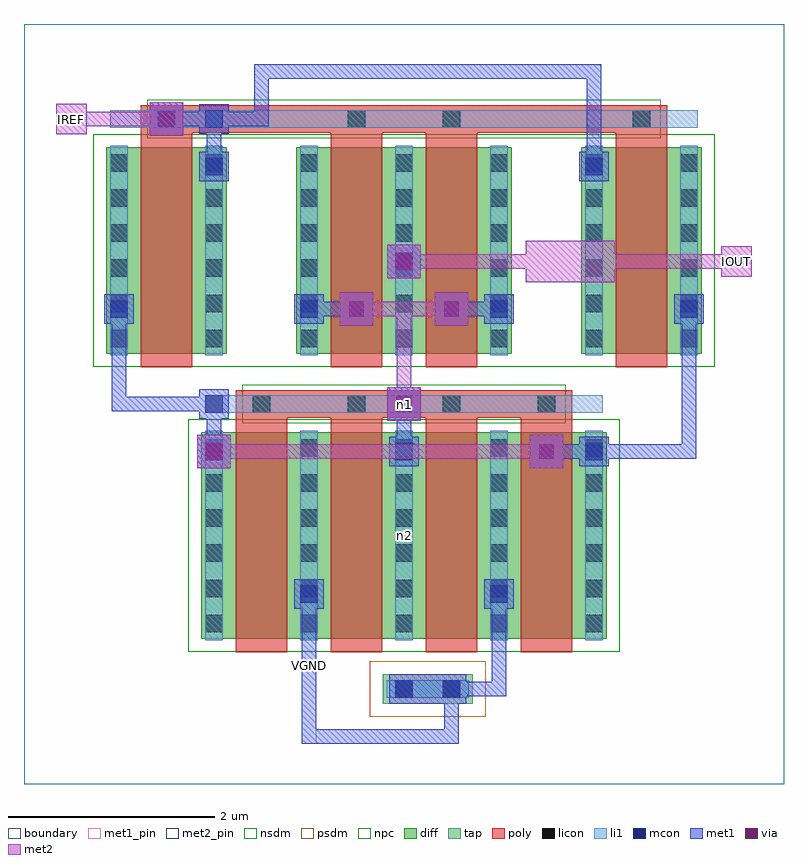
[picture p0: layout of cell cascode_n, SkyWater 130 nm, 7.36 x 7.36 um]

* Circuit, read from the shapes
.subckt cascode_n IOUT IREF VGND n1 n2
XM1 IREF IREF n1 VGND sky130_fd_pr__nfet_01v8 w=2 l=0.5 m=2
XM2 VGND n1 n1 VGND sky130_fd_pr__nfet_01v8 w=2 l=0.5 m=2
XM3 n2 n1 VGND VGND sky130_fd_pr__nfet_01v8 w=2 l=0.5 m=2
XM4 IOUT IREF n2 VGND sky130_fd_pr__nfet_01v8 w=2 l=0.5 m=2
.ends

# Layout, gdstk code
import gdstk
lib = gdstk.Library(unit=1e-6, precision=1e-09)
def R(c, l, rs):  # rectangles x0, y0, x1, y1
    for r in rs: c.add(gdstk.rectangle(r[:2], r[2:], *l))
def A(c, l, x, y, w, h, nx, ny, dx, dy):  # array of equal rectangles
    R(c, l, [(x+i*dx, y+j*dy, x+i*dx+w, y+j*dy+h) for i in range(nx) for j in range(ny)])
diff = (65, 20)
tap = (65, 44)
poly = (66, 20)
licon = (66, 44)
li1 = (67, 20)
mcon = (67, 44)
met1_pin = (68, 16)
met1 = (68, 20)
via = (68, 44)
met2_pin = (69, 16)
met2 = (69, 20)
nsdm = (93, 44)
psdm = (94, 20)
npc = (95, 20)
boundary = (235, 4)

cascode_n = lib.new_cell('cascode_n')
R(cascode_n, diff, [(1.715,1.405,5.645,3.405), (0.795,4.165,1.965,6.165), (2.635,4.165,4.725,6.165), (5.395,4.165,6.565,6.165)])
R(cascode_n, tap, [(3.475,0.775,4.345,1.065)])
A(cascode_n, poly, 2.05, 1.275, 0.5, 2.405, 4, 1, 0.92, 0)
R(cascode_n, poly, [(2.05,3.545,5.31,3.815), (1.13,4.035,1.63,6.44), (2.97,4.035,3.47,6.44), (3.89,4.035,4.39,6.44), (5.73,4.035,6.23,6.44), (1.13,6.305,6.23,6.575)])
A(cascode_n, licon, 1.755, 1.47, 0.17, 0.17, 5, 6, 0.92, 0.34)
A(cascode_n, licon, 2.215, 3.595, 0.17, 0.17, 4, 1, 0.92, 0)
A(cascode_n, licon, 0.835, 4.23, 0.17, 0.17, 7, 6, 0.92, 0.34)
R(cascode_n, licon, [(3.595,0.835,3.765,1.005), (4.055,0.835,4.225,1.005), (1.295,6.355,1.465,6.525), (3.135,6.355,3.305,6.525), (4.055,6.355,4.225,6.525), (5.895,6.355,6.065,6.525)])
A(cascode_n, li1, 1.755, 1.39, 0.17, 2.03, 5, 1, 0.92, 0)
A(cascode_n, li1, 0.835, 4.15, 0.17, 2.03, 7, 1, 0.92, 0)
R(cascode_n, li1, [(3.515,0.835,4.305,1.005), (1.755,3.595,5.605,3.765), (0.835,6.355,6.525,6.525)])
A(cascode_n, mcon, 1.755, 3.135, 0.17, 0.17, 3, 1, 1.84, 0)
A(cascode_n, mcon, 0.835, 4.515, 0.17, 0.17, 4, 1, 1.84, 0)
R(cascode_n, mcon, [(3.595,0.835,3.765,1.005), (4.055,0.835,4.225,1.005), (2.675,1.755,2.845,1.925), (4.515,1.755,4.685,1.925), (1.755,3.595,1.925,3.765), (3.595,4.975,3.765,5.145), (1.755,5.895,1.925,6.065), (5.435,5.895,5.605,6.065), (1.755,6.355,1.925,6.525)])
R(cascode_n, met1_pin, [(2.69,0.39,2.83,1.91)])
A(cascode_n, met1, 1.695, 3.075, 0.29, 0.29, 3, 1, 1.84, 0)
A(cascode_n, met1, 0.775, 4.455, 0.29, 0.29, 4, 1, 1.84, 0)
R(cascode_n, met1, [(2.69,0.39,4.21,0.53), (2.69,0.39,2.83,1.91), (4.07,0.39,4.21,0.99), (3.535,0.775,4.285,1.065), (4.07,0.85,4.21,0.99), (4.07,0.85,4.67,0.99), (4.53,0.85,4.67,1.91), (2.615,1.695,2.905,1.985), (4.455,1.695,4.745,1.985), (1.68,3.06,2,3.38), (4.9,3.06,5.22,3.38), (1.77,3.15,1.91,3.75), (3.61,3.15,3.75,3.75), (4.99,3.15,5.59,3.29), (5.45,3.15,6.51,3.29), (6.37,3.15,6.51,4.67), (3.52,3.52,3.84,3.84), (1.695,3.535,1.985,3.825), (0.85,3.61,0.99,4.67), (0.85,3.61,1.91,3.75), (3.06,4.44,3.38,4.76), (3.98,4.44,4.3,4.76), (2.69,4.53,3.29,4.67), (4.07,4.53,4.67,4.67), (3.52,4.9,3.84,5.22), (3.535,4.915,3.825,5.205), (1.695,5.835,1.985,6.125), (5.375,5.835,5.665,6.125), (1.77,5.91,1.91,6.51), (5.45,5.91,5.59,6.97), (1.22,6.28,1.54,6.6), (1.695,6.295,1.985,6.585), (1.31,6.37,1.91,6.51), (1.77,6.37,2.37,6.51), (2.23,6.37,2.37,6.97), (2.23,6.83,5.59,6.97)])
R(cascode_n, via, [(1.765,3.145,1.915,3.295), (4.985,3.145,5.135,3.295), (3.605,3.605,3.755,3.755), (3.145,4.525,3.295,4.675), (4.065,4.525,4.215,4.675), (3.605,4.985,3.755,5.135), (1.305,6.365,1.455,6.515)])
R(cascode_n, met2_pin, [(6.75,4.91,7.05,5.21), (0.31,6.29,0.61,6.59)])
R(cascode_n, met2, [(1.68,3.06,2,3.38), (4.9,3.06,5.22,3.38), (1.77,3.15,5.13,3.29), (3.52,3.52,3.84,3.84), (3.61,3.61,3.75,4.67), (3.06,4.44,3.38,4.76), (3.98,4.44,4.3,4.76), (3.15,4.53,3.75,4.67), (3.61,4.53,4.21,4.67), (4.86,4.86,5.72,5.26), (3.52,4.9,3.84,5.22), (6.75,4.91,7.05,5.21), (3.61,4.99,5.13,5.13), (5.45,4.99,6.97,5.13), (6.83,4.99,6.97,5.13), (1.22,6.28,1.54,6.6), (0.31,6.29,0.61,6.59), (0.39,6.37,0.53,6.51), (0.39,6.37,1.45,6.51)])
R(cascode_n, nsdm, [(1.59,1.28,5.77,3.53), (0.67,4.04,6.69,6.29)])
R(cascode_n, psdm, [(3.35,0.65,4.47,1.19)])
R(cascode_n, npc, [(2.115,3.495,5.245,3.865), (1.195,6.255,6.165,6.625)])
R(cascode_n, boundary, [(0,0,7.36,7.36)])
cascode_n.add(gdstk.Label('n1', (3.68,3.68), layer=67, texttype=5))
cascode_n.add(gdstk.Label('n2', (3.68,2.405), layer=67, texttype=5))
cascode_n.add(gdstk.Label('VGND', (2.76,1.15), layer=68, texttype=5))
cascode_n.add(gdstk.Label('IREF', (0.46,6.44), layer=69, texttype=5))
cascode_n.add(gdstk.Label('IOUT', (6.9,5.06), layer=69, texttype=5))
cascode_n.add(gdstk.Label('VGND', (2.76,1.15), layer=68, texttype=16))
cascode_n.add(gdstk.Label('IREF', (0.46,6.44), layer=69, texttype=16))
cascode_n.add(gdstk.Label('IOUT', (6.9,5.06), layer=69, texttype=16))

lib.write_gds('cascode_n.gds')
